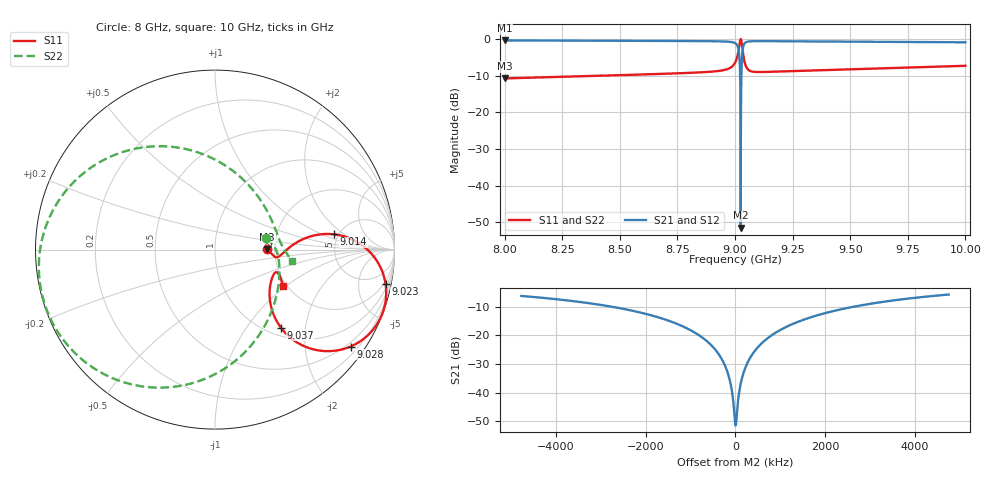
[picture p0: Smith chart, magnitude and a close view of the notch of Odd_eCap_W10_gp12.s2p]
! Sonnet Data File
! From: emgraph Version : 16.52
! From Emgraph Data: Resonator2_extremeCap2
! Data File Written: 10/10/2017 01:05:42
!< HDATE 10/09/2017 23:09:38
!< MDATE 10/09/2017 23:11:10
!< PARAMS
!< Pwid1 = 2000.0
!< Width = 10.0
!< Gap = 12.0
!< END PARAMS
# GHZ S MA R 35.98000
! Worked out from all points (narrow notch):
!   1596 points, 8 GHz to 10 GHz, reference 35.98 ohm
!   highest |S21| = -0.38 dB at 8 GHz (marker M1); lowest = -51.5 dB at 9.025 GHz (marker M2)
!   notch at M2: 50.8 dB deep, 797 kHz wide at half that depth
!   lowest |S11| = -10.8 dB at 8 GHz (marker M3), VSWR 1.82, Z = 65.4 + j0.583 ohm
!   |S11| at or under -10 dB: start of sweep to 8.425 GHz
!   |S22| runs from -10.8 to 0.0 dB; largest |S21 - S12| = 0
!   S11 on the Smith chart (normalised r, x): 8 GHz: 1.82, +0.02; 9.014 GHz: 4.58, +1.41; 9.023 GHz: 1.51, -9.76; 9.028 GHz: 0.39, -3.07; 9.037 GHz: 1.15, -1.48; 10 GHz: 1.90, -0.96
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8  0.29 0.8  0.957 -83.4  0.957 -83.4  0.29 12.4
!< P1 F=8.0 Eeff=(5.35565969 -2.3583e-5) Z0=(36.0440404 8.0203e-5) R=0.0 C=0.0
!< P2 F=8.0 Eeff=(5.35565969 -2.3583e-5) Z0=(36.0440404 8.0203e-5) R=0.0 C=0.0
8.334  0.3103 -3.2  0.9506 -87.6  0.9506 -87.6  0.3103 7.9
8.668  0.3335 -6.6  0.9428 -92.3  0.9428 -92.3  0.3335 1.9
8.924  0.3652 -5.2  0.9309 -98.6  0.9309 -98.6  0.3652 -11.9
9  0.4736 5.9  0.8806 -111.6  0.8806 -111.6  0.4732 -49.2
9.01437  0.6688 7.3  0.7427 -129.2  0.7427 -129.2  0.668 -85.8
9.019945  0.8582 -0.6  0.5111 -148.5  0.5111 -148.5  0.8567 -116.8
9.023054  0.9697 -11.4  0.2375 -166.5  0.2375 -166.5  0.9679 -142.7
9.024526  0.996 -18.3  0.06595 -175.5  0.06595 -175.5  0.9941 -157.2
9.024832  0.9978 -19.8  0.02829 -174.8  0.02829 -174.8  0.9959 -160.3
9.025054  0.9982 -20.9  0.002665 -105.6  0.002665 -105.6  0.9963 -162.6
9.025341  0.9976 -22.3  0.03531 -8.2  0.03531 -8.2  0.9956 -165.5
9.025787  0.994 -24.6  0.09096 -9.0  0.09096 -9.0  0.9921 -170.2
9.026719  0.977 -29.1  0.205 -15.2  0.205 -15.2  0.975 -179.8
9.028172  0.9284 -35.6  0.3673 -25.3  0.3673 -25.3  0.9265 165.8
9.032  0.752 -46.6  0.6576 -46.6  0.6576 -46.6  0.7505 133.7
9.03725  0.5693 -49.8  0.8215 -63.3  0.8215 -63.3  0.5683 103.5
9.050023  0.409 -41.7  0.9123 -79.0  0.9123 -79.0  0.4086 63.8
9.078052  0.3583 -29.2  0.9336 -88.2  0.9336 -88.2  0.3582 32.7
9.334  0.3732 -20.4  0.9277 -98.3  0.9277 -98.3  0.3732 3.7
9.668  0.4016 -23.9  0.9158 -103.6  0.9158 -103.6  0.4016 -3.2
10  0.4312 -28.5  0.9023 -108.5  0.9023 -108.5  0.4312 -8.5
